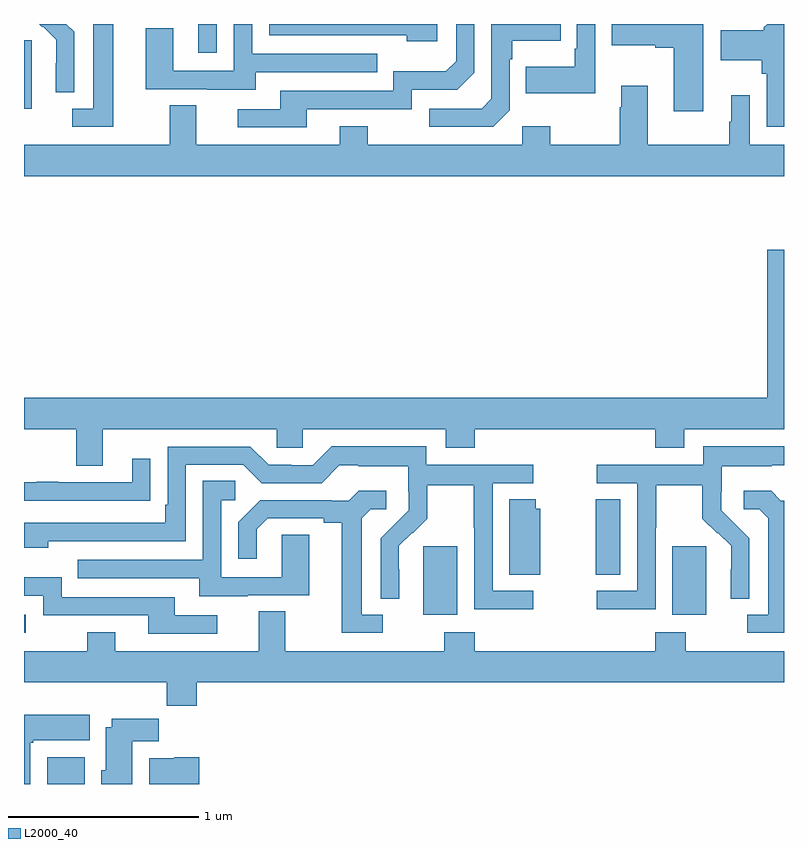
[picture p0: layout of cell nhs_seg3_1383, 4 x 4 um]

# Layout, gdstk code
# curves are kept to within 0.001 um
import gdstk
lib = gdstk.Library(unit=1e-6, precision=1e-09)
def R(c, l, rs):  # rectangles x0, y0, x1, y1
    for r in rs: c.add(gdstk.rectangle(r[:2], r[2:], *l))
def P(c, l, *ps):  # polygons
    for p in ps: c.add(gdstk.Polygon(p, *l))
L2000_40 = (2000, 40)

nhs_seg3_1383 = lib.new_cell('nhs_seg3_1383')
R(nhs_seg3_1383, L2000_40, [(183.122,680.4,183.319,680.542), (183,681.195,183.01,681.291), (185.102,681.29,185.281,681.651), (186.413,681.29,186.592,681.651), (186.008,681.502,186.139,681.899), (183,683.954,183.04,684.315), (183.917,684.249,184.014,684.4)])
P(nhs_seg3_1383, L2000_40, [(184.219,684.147),(184.859,684.147),(184.859,684.243),(184.2,684.243),(184.2,684.4),(184.104,684.4),(184.104,684.153),(183.786,684.153),(183.786,684.377),(183.641,684.377),(183.641,684.057),(183.965,684.057),(183.965,684.053),(184.219,684.053)],
  [(186.006,684.4),(185.91,684.4),(185.91,684.271),(185.898,684.271),(185.898,684.175),(185.641,684.175),(185.641,684.035),(186.006,684.035)],
  [(187,684.4),(186.912,684.4),(186.894,684.382),(186.894,684.367),(186.666,684.367),(186.666,684.209),(186.883,684.209),(186.883,684.138),(186.908,684.138),(186.908,683.858),(187,683.858)],
  [(183.264,684.358),(183.222,684.4),(183.08,684.4),(183.096,684.384),(183.099,684.387),(183.17,684.317),(183.17,684.194),(183.168,684.194),(183.168,684.04),(183.264,684.04)],
  [(185.176,684.4),(184.29,684.4),(184.29,684.342),(185.015,684.342),(185.015,684.308),(185.176,684.308)],
  [(184.489,683.952),(185.04,683.952),(185.04,684.054),(185.28,684.054),(185.37,684.144),(185.37,684.4),(185.274,684.4),(185.274,684.204),(185.221,684.151),(184.944,684.151),(184.944,684.048),(184.349,684.048),(184.349,683.952),(184.125,683.952),(184.125,683.856),(184.489,683.856)],
  [(183.469,684.4),(183.365,684.4),(183.365,683.955),(183.255,683.955),(183.255,683.859),(183.469,683.859)],
  [(185.556,683.946),(185.556,684.215),(185.569,684.215),(185.569,684.311),(185.825,684.311),(185.825,684.4),(185.46,684.4),(185.46,684.006),(185.409,683.955),(185.133,683.955),(185.133,683.859),(185.469,683.859)],
  [(186.574,684.4),(186.093,684.4),(186.093,684.287),(186.323,684.287),(186.323,684.275),(186.419,684.275),(186.419,683.94),(186.574,683.94)],
  [(187,683.764),(186.819,683.764),(186.819,684.025),(186.722,684.025),(186.722,683.886),(186.711,683.886),(186.711,683.764),(186.283,683.764),(186.283,684.076),(186.143,684.076),(186.143,683.963),(186.136,683.963),(186.136,683.764),(185.769,683.764),(185.769,683.863),(185.622,683.863),(185.622,683.764),(184.809,683.764),(184.809,683.863),(184.661,683.863),(184.661,683.764),(183.907,683.764),(183.907,683.972),(183.767,683.972),(183.767,683.764),(183,683.764),(183,683.6),(187,683.6)],
  [(183,682.268),(183.275,682.268),(183.275,682.074),(183.415,682.074),(183.415,682.268),(184.329,682.268),(184.329,682.17),(184.467,682.17),(184.467,682.268),(185.219,682.268),(185.219,682.169),(185.372,682.169),(185.372,682.268),(186.323,682.268),(186.323,682.169),(186.475,682.169),(186.475,682.268),(187,682.268),(187,683.212),(186.911,683.212),(186.911,682.432),(183,682.432)],
  [(186.324,681.748),(186.327,681.748),(186.327,681.972),(186.571,681.972),(186.571,681.797),(186.648,681.72),(186.651,681.723),(186.722,681.653),(186.722,681.53),(186.72,681.53),(186.72,681.376),(186.816,681.376),(186.816,681.694),(186.67,681.842),(186.67,681.939),(186.672,681.939),(186.672,682.073),(186.935,682.073),(186.935,682.077),(187,682.077),(187,682.177),(186.576,682.177),(186.576,682.08),(186.015,682.08),(186.015,681.984),(186.228,681.984),(186.228,681.417),(186.015,681.417),(186.015,681.319),(186.324,681.319)],
  [(185.68,681.417),(185.466,681.417),(185.466,681.984),(185.68,681.984),(185.68,682.08),(185.118,682.08),(185.118,682.177),(184.621,682.177),(184.521,682.077),(184.406,682.077),(184.406,682.08),(184.287,682.08),(184.191,682.176),(183.756,682.176),(183.756,681.871),(183.743,681.871),(183.743,681.774),(183,681.774),(183,681.644),(183.128,681.644),(183.128,681.678),(183.852,681.678),(183.852,682.08),(184.155,682.08),(184.251,681.984),(184.566,681.984),(184.659,682.077),(184.759,682.077),(184.759,682.073),(185.022,682.073),(185.022,681.939),(185.024,681.939),(185.024,681.842),(184.878,681.694),(184.878,681.376),(184.974,681.376),(184.973,681.653),(185.043,681.723),(185.046,681.72),(185.123,681.797),(185.123,681.972),(185.368,681.972),(185.368,681.748),(185.37,681.748),(185.37,681.319),(185.68,681.319)],
  [(183.563,681.892),(183.665,681.892),(183.665,682.111),(183.569,682.111),(183.569,681.987),(183.179,681.987),(183.179,681.992),(183.067,681.992),(183.067,681.987),(183,681.987),(183,681.891),(183.563,681.891)],
  [(184.177,681.393),(184.501,681.393),(184.501,681.713),(184.356,681.713),(184.356,681.489),(184.038,681.489),(184.038,681.894),(184.111,681.894),(184.111,681.995),(183.942,681.995),(183.942,681.579),(183.283,681.579),(183.283,681.483),(183.923,681.483),(183.923,681.389),(184.177,681.389)],
  [(187,681.891),(186.984,681.891),(186.932,681.943),(186.789,681.943),(186.789,681.846),(186.87,681.846),(186.917,681.799),(186.917,681.291),(186.807,681.291),(186.807,681.195),(187,681.195)],
  [(184.888,681.291),(184.777,681.291),(184.777,681.799),(184.824,681.846),(184.906,681.846),(184.906,681.943),(184.762,681.943),(184.71,681.891),(184.616,681.891),(184.616,681.894),(184.244,681.894),(184.128,681.778),(184.128,681.585),(184.225,681.585),(184.225,681.741),(184.282,681.798),(184.577,681.798),(184.577,681.776),(184.673,681.776),(184.673,681.195),(184.888,681.195)],
  [(185.716,681.85),(185.694,681.85),(185.694,681.899),(185.555,681.899),(185.555,681.502),(185.716,681.502)],
  [(184.018,681.288),(183.793,681.288),(183.793,681.384),(183.198,681.384),(183.198,681.487),(183,681.487),(183,681.39),(183.102,681.39),(183.102,681.288),(183.653,681.288),(183.653,681.192),(184.018,681.192)],
  [(183.908,680.936),(187,680.936),(187,681.1),(186.483,681.1),(186.483,681.199),(186.323,681.199),(186.323,681.1),(185.372,681.1),(185.372,681.199),(185.212,681.199),(185.212,681.1),(184.375,681.1),(184.375,681.308),(184.235,681.308),(184.235,681.1),(183.481,681.1),(183.481,681.199),(183.334,681.199),(183.334,681.1),(183,681.1),(183,680.936),(183.751,680.936),(183.751,680.812),(183.908,680.812)],
  [(183.034,680.617),(183.048,680.617),(183.048,680.63),(183.346,680.63),(183.346,680.764),(183,680.764),(183,680.4),(183.034,680.4)],
  [(183.571,680.624),(183.71,680.624),(183.71,680.743),(183.461,680.743),(183.461,680.698),(183.431,680.698),(183.431,680.472),(183.407,680.472),(183.407,680.4),(183.571,680.4)],
  [(183.923,680.542),(183.792,680.542),(183.792,680.536),(183.659,680.536),(183.659,680.4),(183.923,680.4)])

lib.write_gds('nhs_seg3_1383.gds')
